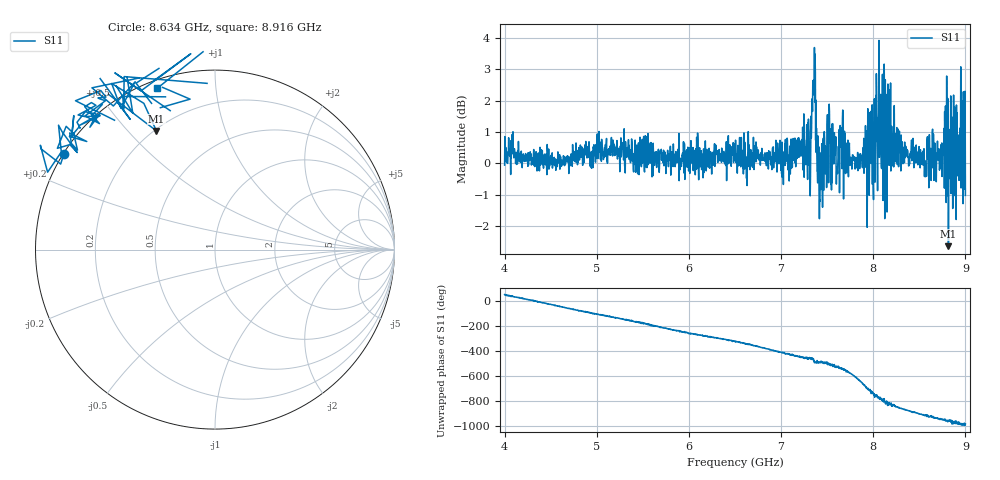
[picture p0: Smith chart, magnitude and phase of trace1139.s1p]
! Created with skrf 1.8.0 (http://scikit-rf.org).
# Hz S RI R 50.0
!freq ReS11 ImS11
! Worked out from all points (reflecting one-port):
!   1601 points, 4 GHz to 9 GHz, reference 50 ohm
!   lowest |S11| = -2.6 dB at 8.816 GHz (marker M1), VSWR 6.62, Z = 10.4 + j30.1 ohm
!   phase of S11 starts at 53 deg and turns -1040 deg over the sweep
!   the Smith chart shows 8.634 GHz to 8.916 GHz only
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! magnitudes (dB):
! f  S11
! 4 GHz  -0.1
! 4.069 GHz  0.7
! 4.625 GHz  0.0
! 5.25 GHz  -0.3
! 5.875 GHz  0.1
! 6.5 GHz  0.3
! 7.125 GHz  0.7
! 7.294 GHz  -0.1
! 7.353 GHz  2.7
! 7.369 GHz  3.5
! 7.406 GHz  0.2
! 7.428 GHz  -0.3
! 7.525 GHz  1.6
! 7.609 GHz  -0.2
! 7.662 GHz  -0.2
! 7.75 GHz  0.0
! 7.909 GHz  0.0
! 7.962 GHz  1.4
! 8.097 GHz  1.4
! 8.178 GHz  2.0
! 8.216 GHz  0.7
! 8.375 GHz  0.3
! 8.697 GHz  0.7
! 8.784 GHz  1.8
! 8.816 GHz  -2.6
! 8.841 GHz  2.1
! 8.972 GHz  0.6
! 9 GHz  -1.0
